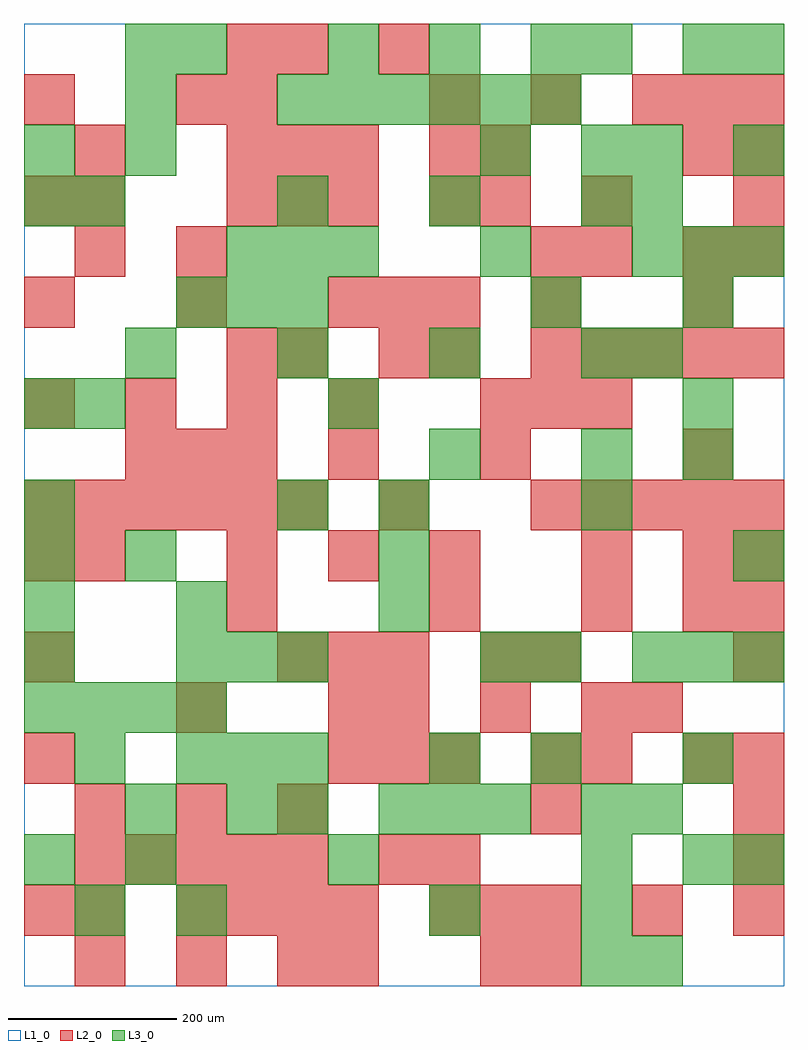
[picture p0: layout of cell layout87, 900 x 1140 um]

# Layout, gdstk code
import gdstk
lib = gdstk.Library(unit=1e-6, precision=1e-09)
def R(c, l, rs):  # rectangles x0, y0, x1, y1
    for r in rs: c.add(gdstk.rectangle(r[:2], r[2:], *l))
def A(c, l, x, y, w, h, nx, ny, dx, dy):  # array of equal rectangles
    R(c, l, [(x+i*dx, y+j*dy, x+i*dx+w, y+j*dy+h) for i in range(nx) for j in range(ny)])
L1_0 = (1, 0)
L2_0 = (2, 0)
L3_0 = (3, 0)

layout87 = lib.new_cell('layout87')
R(layout87, L1_0, [(0,0,900,1140)])
A(layout87, L2_0, 60, 0, 60, 60, 3, 2, 120, 180)
A(layout87, L2_0, 360, 0, 60, 60, 1, 3, 0, 300)
A(layout87, L2_0, 180, 60, 60, 60, 4, 1, 60, 0)
A(layout87, L2_0, 480, 60, 60, 60, 3, 1, 60, 0)
A(layout87, L2_0, 840, 60, 60, 60, 1, 4, 0, 60)
A(layout87, L2_0, 60, 120, 60, 60, 5, 1, 60, 0)
A(layout87, L2_0, 480, 120, 60, 60, 1, 3, 0, 300)
A(layout87, L2_0, 0, 240, 60, 60, 1, 3, 0, 120)
A(layout87, L2_0, 360, 240, 60, 60, 3, 1, 60, 0)
A(layout87, L2_0, 420, 300, 60, 60, 3, 1, 120, 0)
A(layout87, L2_0, 300, 360, 60, 60, 3, 1, 60, 0)
A(layout87, L2_0, 840, 360, 60, 60, 1, 3, 0, 60)
A(layout87, L2_0, 240, 420, 60, 60, 1, 3, 0, 300)
A(layout87, L2_0, 240, 480, 60, 60, 3, 1, 120, 0)
A(layout87, L2_0, 0, 540, 60, 60, 6, 1, 60, 0)
A(layout87, L2_0, 600, 540, 60, 60, 5, 2, 60, 180)
A(layout87, L2_0, 120, 600, 60, 60, 3, 1, 60, 0)
A(layout87, L2_0, 0, 660, 60, 60, 4, 1, 120, 0)
A(layout87, L2_0, 540, 660, 60, 60, 3, 1, 60, 0)
A(layout87, L2_0, 0, 780, 60, 60, 3, 1, 180, 0)
A(layout87, L2_0, 60, 840, 60, 60, 1, 3, 0, 60)
A(layout87, L2_0, 840, 840, 60, 60, 1, 4, 0, 60)
A(layout87, L2_0, 240, 900, 60, 60, 3, 2, 60, 60)
A(layout87, L2_0, 480, 1020, 60, 60, 3, 1, 120, 0)
R(layout87, L2_0, [(540,0,600,60), (600,0,660,60), (0,60,60,120), (60,60,120,120), (720,60,780,120), (420,120,480,180), (600,180,660,240), (600,240,660,300), (660,240,720,300), (780,240,840,300), (180,300,240,360), (720,300,780,360), (540,360,600,420), (600,360,660,420), (660,420,720,480), (780,420,840,480), (60,480,120,540), (660,480,720,540), (780,480,840,540), (420,540,480,600), (540,600,600,660), (780,600,840,660), (300,720,360,780), (420,720,480,780), (420,780,480,840), (480,780,540,840), (600,780,660,840), (780,780,840,840), (180,840,240,900), (600,840,660,900), (660,840,720,900), (780,840,840,900), (0,900,60,960), (480,900,540,960), (540,900,600,960), (660,900,720,960), (480,960,540,1020), (540,960,600,1020), (780,960,840,1020), (0,1020,60,1080), (180,1020,240,1080), (780,1020,840,1080), (240,1080,300,1140), (300,1080,360,1140), (420,1080,480,1140)])
A(layout87, L3_0, 660, 0, 60, 60, 1, 4, 0, 60)
A(layout87, L3_0, 420, 180, 60, 60, 3, 1, 60, 0)
A(layout87, L3_0, 180, 240, 60, 60, 3, 2, 60, 120)
A(layout87, L3_0, 0, 300, 60, 60, 4, 1, 60, 0)
A(layout87, L3_0, 0, 360, 60, 60, 1, 4, 0, 60)
A(layout87, L3_0, 720, 360, 60, 60, 3, 2, 60, 480)
A(layout87, L3_0, 420, 420, 60, 60, 1, 3, 0, 60)
A(layout87, L3_0, 120, 720, 60, 60, 4, 1, 180, 0)
A(layout87, L3_0, 180, 780, 60, 60, 3, 1, 60, 0)
A(layout87, L3_0, 240, 840, 60, 60, 3, 1, 60, 0)
A(layout87, L3_0, 300, 900, 60, 60, 3, 1, 180, 0)
A(layout87, L3_0, 120, 960, 60, 60, 1, 3, 0, 60)
A(layout87, L3_0, 300, 1020, 60, 60, 6, 1, 60, 0)
A(layout87, L3_0, 360, 1080, 60, 60, 3, 1, 120, 0)
R(layout87, L3_0, [(720,0,780,60), (60,60,120,120), (180,60,240,120), (480,60,540,120), (0,120,60,180), (120,120,180,180), (360,120,420,180), (780,120,840,180), (840,120,900,180), (120,180,180,240), (240,180,300,240), (300,180,360,240), (720,180,780,240), (60,240,120,300), (480,240,540,300), (600,240,660,300), (780,240,840,300), (540,360,600,420), (600,360,660,420), (180,420,240,480), (120,480,180,540), (840,480,900,540), (300,540,360,600), (660,540,720,600), (480,600,540,660), (660,600,720,660), (780,600,840,660), (0,660,60,720), (60,660,120,720), (360,660,420,720), (780,660,840,720), (720,720,780,780), (600,780,660,840), (780,780,840,840), (540,840,600,900), (0,900,60,960), (60,900,120,960), (720,900,780,960), (0,960,60,1020), (540,960,600,1020), (660,960,720,1020), (720,960,780,1020), (840,960,900,1020), (180,1080,240,1140), (660,1080,720,1140), (780,1080,840,1140), (840,1080,900,1140)])

lib.write_gds('layout87.gds')
